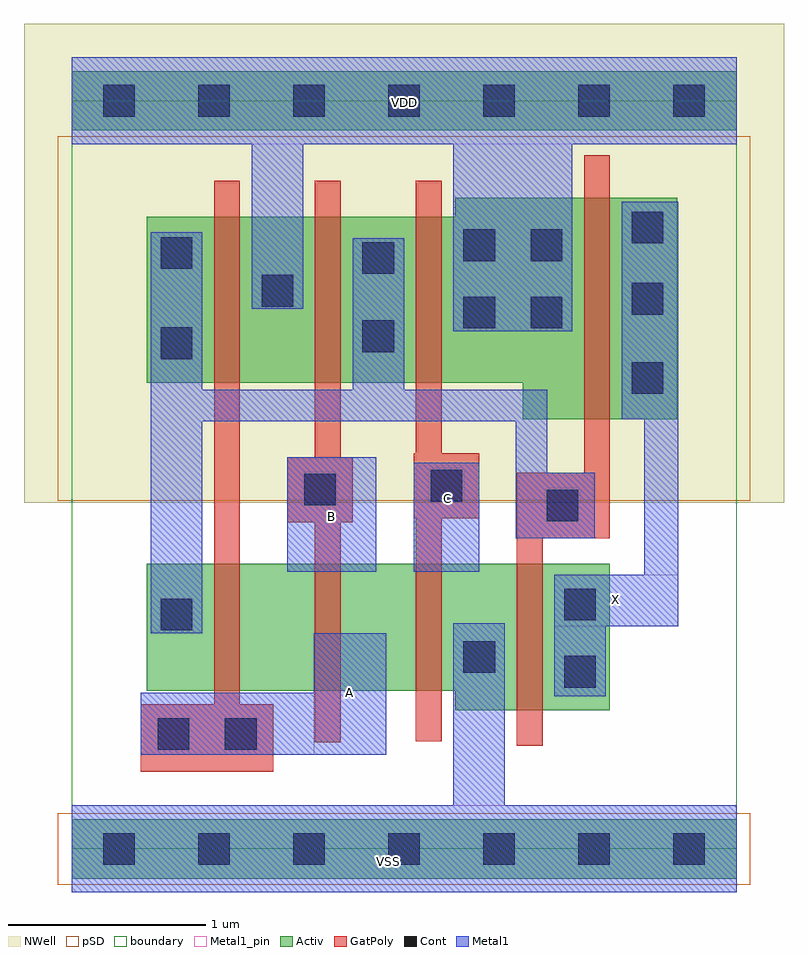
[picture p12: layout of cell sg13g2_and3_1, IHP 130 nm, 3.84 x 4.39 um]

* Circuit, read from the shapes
.subckt sg13g2_and3_1 A B C VDD VSS X
XM1 n1 A n2 VSS sg13_lv_nmos w=0.64u l=0.13u
XM2 n3 B n1 VSS sg13_lv_nmos w=0.64u l=0.13u
XM3 VSS C n3 VSS sg13_lv_nmos w=0.64u l=0.13u
XM4 X n2 VSS VSS sg13_lv_nmos w=0.74u l=0.13u
XM5 VDD A n2 VDD sg13_lv_pmos w=0.84u l=0.13u
XM6 n2 B VDD VDD sg13_lv_pmos w=0.84u l=0.13u
XM7 VDD C n2 VDD sg13_lv_pmos w=0.84u l=0.13u
XM8 X n2 VDD VDD sg13_lv_pmos w=1.12u l=0.13u
.ends

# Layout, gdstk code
import gdstk
lib = gdstk.Library(unit=1e-6, precision=1e-09)
def R(c, l, rs):  # rectangles x0, y0, x1, y1
    for r in rs: c.add(gdstk.rectangle(r[:2], r[2:], *l))
def P(c, l, *ps):  # polygons
    for p in ps: c.add(gdstk.Polygon(p, *l))
Activ = (1, 0)
GatPoly = (5, 0)
Cont = (6, 0)
Metal1 = (8, 0)
Metal1_pin = (8, 2)
pSD = (14, 0)
NWell = (31, 0)
boundary = (189, 4)

sg13g2_and3_1 = lib.new_cell('sg13g2_and3_1')
R(sg13g2_and3_1, Activ, [(0,-0.15,3.36,0.15), (0,3.63,3.36,3.93)])
P(sg13g2_and3_1, Activ, [(3.06,3.29),(1.94,3.29),(1.94,3.195),(0.38,3.195),(0.38,2.355),(2.28,2.355),(2.28,2.17),(3.06,2.17)],
  [(2.72,1.44),(0.38,1.44),(0.38,0.8),(1.94,0.8),(1.94,0.7),(2.72,0.7)])
P(sg13g2_and3_1, GatPoly, [(1.02,0.73),(0.85,0.73),(0.85,3.375),(0.72,3.375),(0.72,0.73),(0.35,0.73),(0.35,0.39),(1.02,0.39)],
  [(1.42,1.98),(1.36,1.98),(1.36,3.375),(1.23,3.375),(1.23,1.98),(1.09,1.98),(1.09,1.65),(1.23,1.65),(1.23,0.54),(1.36,0.54),(1.36,1.65),(1.42,1.65)],
  [(2.06,2),(1.87,2),(1.87,3.375),(1.74,3.375),(1.74,2),(1.73,2),(1.73,1.67),(1.74,1.67),(1.74,0.545),(1.87,0.545),(1.87,1.67),(2.06,1.67)],
  [(2.72,3.505),(2.59,3.505),(2.59,1.9),(2.25,1.9),(2.25,0.52),(2.38,0.52),(2.38,1.57),(2.72,1.57)])
R(sg13g2_and3_1, Cont, [(0.16,-0.08,0.32,0.08), (0.16,-0.08,0.32,0.08), (0.64,-0.08,0.8,0.08), (0.64,-0.08,0.8,0.08), (1.12,-0.08,1.28,0.08), (1.12,-0.08,1.28,0.08), (1.6,-0.08,1.76,0.08), (1.6,-0.08,1.76,0.08), (2.08,-0.08,2.24,0.08), (2.08,-0.08,2.24,0.08), (2.56,-0.08,2.72,0.08), (2.56,-0.08,2.72,0.08), (3.04,-0.08,3.2,0.08), (3.04,-0.08,3.2,0.08), (0.435,0.5,0.595,0.66), (0.775,0.5,0.935,0.66), (2.49,0.815,2.65,0.975), (1.98,0.89,2.14,1.05), (0.45,1.105,0.61,1.265), (2.49,1.155,2.65,1.315), (2.4,1.655,2.56,1.815), (1.175,1.735,1.335,1.895), (1.815,1.755,1.975,1.915), (2.83,2.3,2.99,2.46), (0.45,2.475,0.61,2.635), (1.47,2.51,1.63,2.67), (1.98,2.63,2.14,2.79), (2.32,2.63,2.48,2.79), (2.83,2.7,2.99,2.86), (0.96,2.74,1.12,2.9), (1.47,2.905,1.63,3.065), (0.45,2.93,0.61,3.09), (1.98,2.97,2.14,3.13), (2.32,2.97,2.48,3.13), (2.83,3.06,2.99,3.22), (0.16,3.7,0.32,3.86), (0.16,3.7,0.32,3.86), (0.64,3.7,0.8,3.86), (0.64,3.7,0.8,3.86), (1.12,3.7,1.28,3.86), (1.12,3.7,1.28,3.86), (1.6,3.7,1.76,3.86), (1.6,3.7,1.76,3.86), (2.08,3.7,2.24,3.86), (2.08,3.7,2.24,3.86), (2.56,3.7,2.72,3.86), (2.56,3.7,2.72,3.86), (3.04,3.7,3.2,3.86), (3.04,3.7,3.2,3.86)])
R(sg13g2_and3_1, Metal1, [(1.09,1.4,1.54,1.98), (1.73,1.4,2.06,1.95)])
P(sg13g2_and3_1, Metal1, [(1.68,2.32),(2.405,2.32),(2.405,1.9),(2.645,1.9),(2.645,1.57),(2.245,1.57),(2.245,2.16),(0.66,2.16),(0.66,1.09),(0.4,1.09),(0.4,3.115),(0.66,3.115),(0.66,2.32),(1.42,2.32),(1.42,3.085),(1.68,3.085)],
  [(2.78,2.17),(2.78,3.27),(3.065,3.27),(3.065,1.125),(2.7,1.125),(2.7,0.77),(2.44,0.77),(2.44,1.385),(2.895,1.385),(2.895,2.17)],
  [(0.35,0.475),(0.35,0.79),(1.225,0.79),(1.225,1.09),(1.59,1.09),(1.59,0.475)],
  [(0,3.56),(0,4),(3.36,4),(3.36,3.56),(2.53,3.56),(2.53,2.615),(1.93,2.615),(1.93,3.56),(1.17,3.56),(1.17,2.73),(0.91,2.73),(0.91,3.56)],
  [(0,-0.22),(0,0.22),(1.93,0.22),(1.93,1.14),(2.19,1.14),(2.19,0.22),(3.36,0.22),(3.36,-0.22)])
R(sg13g2_and3_1, Metal1_pin, [(0,-0.22,3.36,0.22), (1.225,0.475,1.59,1.09), (2.44,1.125,3.065,1.385), (1.09,1.4,1.54,1.98), (1.73,1.4,2.06,1.95), (0,3.56,3.36,4)])
R(sg13g2_and3_1, pSD, [(-0.07,-0.18,3.43,0.18), (-0.07,1.76,3.43,3.6)])
R(sg13g2_and3_1, NWell, [(-0.24,1.75,3.6,4.17)])
R(sg13g2_and3_1, boundary, [(0,0,3.36,3.78)])
sg13g2_and3_1.add(gdstk.Label('X', (2.75,1.26), layer=8, texttype=25))
sg13g2_and3_1.add(gdstk.Label('B', (1.315,1.68), layer=8, texttype=25))
sg13g2_and3_1.add(gdstk.Label('VDD', (1.68,3.77), layer=8, texttype=25))
sg13g2_and3_1.add(gdstk.Label('VSS', (1.6,-0.065), layer=8, texttype=25))
sg13g2_and3_1.add(gdstk.Label('C', (1.9,1.77), layer=8, texttype=25))
sg13g2_and3_1.add(gdstk.Label('A', (1.405,0.79), layer=8, texttype=25))

lib.write_gds('sg13g2_and3_1.gds')
